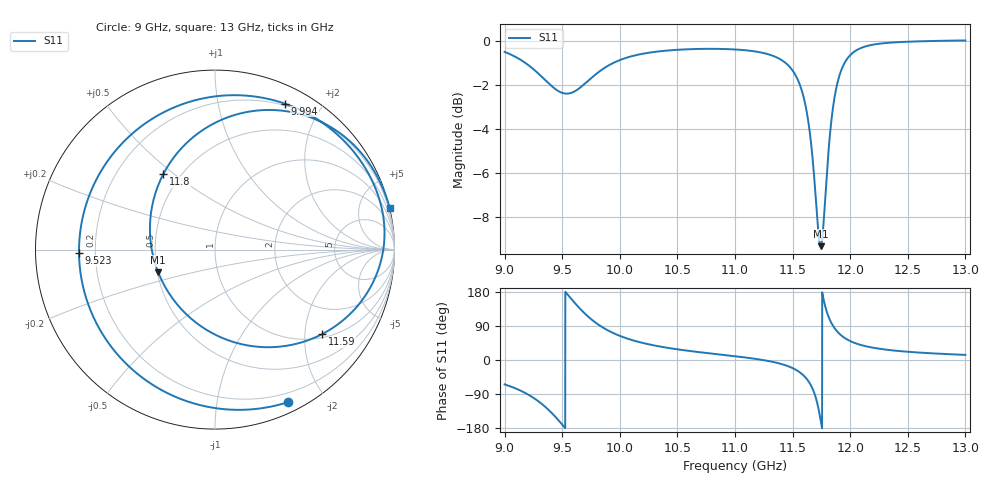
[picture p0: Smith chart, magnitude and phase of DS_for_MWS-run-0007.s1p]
! TOUCHSTONE file generated by CST DESIGN STUDIO
! Date and time: Tue Feb  4 15:52:07 2025
! Project name: C:\Work\MatlabApps\UnitCellOptimizationMatlab\CST\unitcell.cst
! Tree item: Tasks\Sweep1\SPara1\S-Parameters
! Header version: 2024
! Port assignment regex: !\s*Touchstone port\s*([0-9]+)\s*=\s*(CST MWS port|CST DES external port|CST DES block port)\s*(.+)\s* \(\"(.*)\"\)(\s*mode\s*([0-9]+))?.*
! Touchstone port assignment:
! Touchstone port 1 = CST DES external port 1 ("")
# GHz S MA R 50
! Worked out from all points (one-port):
!   4001 points, 9 GHz to 13 GHz, reference 50 ohm
!   lowest |S11| = -9.3 dB at 11.74 GHz (marker M1), VSWR 2.03, Z = 25.3 - j7.29 ohm
!   |S11| at or under -10 dB: nowhere
!   S11 on the Smith chart (normalised r, x): 9 GHz: 0.10, -1.59; 9.523 GHz: 0.14, -0.01; 9.994 GHz: 0.18, +1.57; 11.59 GHz: 1.10, -2.45; 11.8 GHz: 0.40, +0.46; 13 GHz: -0.02, +8.45
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9  0.9423 -64.3
9.169  0.8936 -85.4
9.288  0.8438 -107.7
9.391  0.7956 -134.4
9.5  0.7604 -170.4
9.523  0.7579 -178.6
9.614  0.7681 148.9
9.737  0.8153 111.4
9.846  0.8592 87.0
9.994  0.9016 64.4
10  0.9029 63.7
10.213  0.9348 44.0
10.5  0.9528 28.1
11  0.9545 9.9
11.325  0.9241 -4.8
11.5  0.8548 -21.4
11.586  0.7601 -38.3
11.677  0.5272 -78.3
11.71  0.4073 -109.0
11.743  0.3408 -158.1
11.771  0.3922 157.2
11.8  0.5104 124.3
11.836  0.6556 98.1
11.875  0.7702 79.7
12  0.9264 50.0
12.179  0.9766 33.5
12.5  0.9939 21.7
13  1.001 13.5
